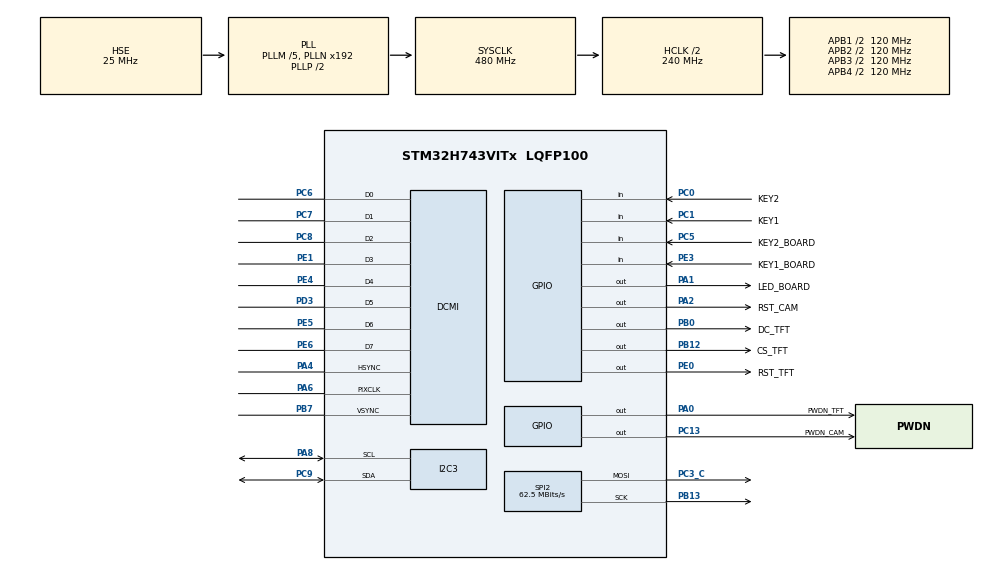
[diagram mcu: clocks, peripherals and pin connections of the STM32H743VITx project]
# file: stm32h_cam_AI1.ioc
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CORTEX_M7.CPU_DCache=Enabled
CORTEX_M7.CPU_ICache=Enabled
DCMI.JPEGMode=DCMI_JPEG_DISABLE
DCMI.PCKPolarity=DCMI_PCKPOLARITY_RISING
Dma.DCMI.1.Direction=DMA_PERIPH_TO_MEMORY
Dma.DCMI.1.EventEnable=DISABLE
Dma.DCMI.1.FIFOMode=DMA_FIFOMODE_ENABLE
Dma.DCMI.1.FIFOThreshold=DMA_FIFO_THRESHOLD_FULL
Dma.DCMI.1.Instance=DMA2_Stream1
Dma.DCMI.1.MemBurst=DMA_MBURST_SINGLE
Dma.DCMI.1.MemDataAlignment=DMA_MDATAALIGN_BYTE
Dma.DCMI.1.MemInc=DMA_MINC_ENABLE
Dma.DCMI.1.Mode=DMA_CIRCULAR
Dma.DCMI.1.PeriphBurst=DMA_PBURST_SINGLE
Dma.DCMI.1.PeriphDataAlignment=DMA_PDATAALIGN_WORD
Dma.DCMI.1.PeriphInc=DMA_PINC_DISABLE
Dma.DCMI.1.Polarity=HAL_DMAMUX_REQ_GEN_RISING
Dma.DCMI.1.Priority=DMA_PRIORITY_VERY_HIGH
Dma.DCMI.1.RequestNumber=1
Dma.DCMI.1.SignalID=NONE
Dma.DCMI.1.SyncEnable=DISABLE
Dma.DCMI.1.SyncPolarity=HAL_DMAMUX_SYNC_NO_EVENT
Dma.DCMI.1.SyncRequestNumber=1
Dma.DCMI.1.SyncSignalID=NONE
Dma.Request0=SPI2_TX
Dma.Request1=DCMI
Dma.SPI2_TX.0.Direction=DMA_MEMORY_TO_PERIPH
Dma.SPI2_TX.0.EventEnable=DISABLE
Dma.SPI2_TX.0.FIFOMode=DMA_FIFOMODE_DISABLE
Dma.SPI2_TX.0.Instance=DMA1_Stream7
Dma.SPI2_TX.0.MemDataAlignment=DMA_MDATAALIGN_BYTE
Dma.SPI2_TX.0.MemInc=DMA_MINC_ENABLE
Dma.SPI2_TX.0.Mode=DMA_NORMAL
Dma.SPI2_TX.0.PeriphDataAlignment=DMA_PDATAALIGN_BYTE
Dma.SPI2_TX.0.PeriphInc=DMA_PINC_DISABLE
Dma.SPI2_TX.0.Polarity=HAL_DMAMUX_REQ_GEN_RISING
Dma.SPI2_TX.0.Priority=DMA_PRIORITY_HIGH
Dma.SPI2_TX.0.RequestNumber=1
Dma.SPI2_TX.0.SignalID=NONE
Dma.SPI2_TX.0.SyncEnable=DISABLE
Dma.SPI2_TX.0.SyncPolarity=HAL_DMAMUX_SYNC_NO_EVENT
Dma.SPI2_TX.0.SyncRequestNumber=1
Dma.SPI2_TX.0.SyncSignalID=NONE
I2C3.Analog_Filter=I2C_ANALOGFILTER_ENABLE
I2C3.I2C_Coeff_DF=0
I2C3.I2C_Fall_Time=300
I2C3.I2C_Rise_Time=300
I2C3.Timing=0x70843A4F
Mcu.Family=STM32H7
Mcu.Name=STM32H743VITx
Mcu.Package=LQFP100
NVIC.DMA1_Stream7_IRQn=true\:0\:0\:false\:false\:true\:false\:true\:true
NVIC.DMA2_Stream1_IRQn=true\:0\:0\:false\:false\:true\:false\:true\:true
NVIC.PriorityGroup=NVIC_PRIORITYGROUP_4
NVIC.SPI2_IRQn=true\:0\:0\:false\:false\:true\:false\:true\:true
PA0.GPIO_Label=PWDN_TFT
PA0.GPIO_ModeDefaultOutputPP=GPIO_MODE_OUTPUT_OD
PA0.GPIO_PuPd=GPIO_PULLUP
PA0.PinState=GPIO_PIN_SET
PA0.Signal=GPIO_Output
PA1.GPIO_Label=LED_BOARD
PA1.Signal=GPIO_Output
PA13\ (JTMS/SWDIO).Mode=Serial_Wire
PA13\ (JTMS/SWDIO).Signal=DEBUG_JTMS-SWDIO
PA14\ (JTCK/SWCLK).Mode=Serial_Wire
PA14\ (JTCK/SWCLK).Signal=DEBUG_JTCK-SWCLK
PA2.GPIO_Label=RST_CAM
PA2.Signal=GPIO_Output
PA4.Mode=Slave_8_bits_External_Synchro
PA4.Signal=DCMI_HSYNC
PA6.Mode=Slave_8_bits_External_Synchro
PA6.Signal=DCMI_PIXCLK
PA8.Mode=I2C
PA8.Signal=I2C3_SCL
PB0.GPIO_Label=DC_TFT
PB0.GPIO_PuPd=GPIO_PULLUP
PB0.PinState=GPIO_PIN_SET
PB0.Signal=GPIO_Output
PB12.GPIO_Label=CS_TFT
PB12.GPIO_PuPd=GPIO_PULLUP
PB12.PinState=GPIO_PIN_SET
PB12.Signal=GPIO_Output
PB13.GPIO_Speed=GPIO_SPEED_FREQ_VERY_HIGH
PB13.Mode=TX_Only_Simplex_Unidirect_Master
PB13.Signal=SPI2_SCK
PB6.Signal=QUADSPI_BK1_NCS
PB7.Mode=Slave_8_bits_External_Synchro
PB7.Signal=DCMI_VSYNC
PC0.GPIO_Label=KEY2
PC0.Signal=GPIO_Input
PC1.GPIO_Label=KEY1
PC1.Signal=GPIO_Input
PC13.GPIO_Label=PWDN_CAM
PC13.PinState=GPIO_PIN_SET
PC13.Signal=GPIO_Output
PC14-OSC32_IN\ (OSC32_IN).Mode=LSE-External-Oscillator
PC14-OSC32_IN\ (OSC32_IN).Signal=RCC_OSC32_IN
PC15-OSC32_OUT\ (OSC32_OUT).Mode=LSE-External-Oscillator
PC15-OSC32_OUT\ (OSC32_OUT).Signal=RCC_OSC32_OUT
PC3_C.GPIO_Speed=GPIO_SPEED_FREQ_VERY_HIGH
PC3_C.Mode=TX_Only_Simplex_Unidirect_Master
PC3_C.Signal=SPI2_MOSI
PC5.GPIO_Label=KEY2_BOARD
PC5.Signal=GPIO_Input
PC6.Mode=Slave_8_bits_External_Synchro
PC6.Signal=DCMI_D0
PC7.Mode=Slave_8_bits_External_Synchro
PC7.Signal=DCMI_D1
PC8.Mode=Slave_8_bits_External_Synchro
PC8.Signal=DCMI_D2
PC9.Mode=I2C
PC9.Signal=I2C3_SDA
PD13.Signal=QUADSPI_BK1_IO3
PD3.Mode=Slave_8_bits_External_Synchro
PD3.Signal=DCMI_D5
PE0.GPIO_Label=RST_TFT
PE0.GPIO_PuPd=GPIO_PULLUP
PE0.PinState=GPIO_PIN_SET
PE0.Signal=GPIO_Output
PE1.Mode=Slave_8_bits_External_Synchro
PE1.Signal=DCMI_D3
PE3.GPIO_Label=KEY1_BOARD
PE3.Signal=GPIO_Input
PE4.Mode=Slave_8_bits_External_Synchro
PE4.Signal=DCMI_D4
PE5.Mode=Slave_8_bits_External_Synchro
PE5.Signal=DCMI_D6
PE6.Mode=Slave_8_bits_External_Synchro
PE6.Signal=DCMI_D7
PH0-OSC_IN\ (PH0).Mode=HSE-External-Oscillator
PH0-OSC_IN\ (PH0).Signal=RCC_OSC_IN
PH1-OSC_OUT\ (PH1).Mode=HSE-External-Oscillator
PH1-OSC_OUT\ (PH1).Signal=RCC_OSC_OUT
ProjectManager.HeapSize=0x800
ProjectManager.StackSize=0x1000
ProjectManager.TargetToolchain=STM32CubeIDE
RCC.ADCFreq_Value=125000000
RCC.APB1CLKDivider=RCC_HCLK_DIV4
RCC.APB1Freq_Value=120000000
RCC.APB2CLKDivider=RCC_HCLK_DIV2
RCC.APB2Freq_Value=120000000
RCC.APB3Freq_Value=120000000
RCC.APB4Freq_Value=120000000
RCC.CortexFreq_Value=480000000
RCC.D1PPRE=RCC_APB3_DIV2
RCC.D2PPRE1=RCC_APB1_DIV2
RCC.D2PPRE2=RCC_APB2_DIV2
RCC.D3PPRE=RCC_APB4_DIV2
RCC.DIVM1=5
RCC.DIVM2=4
RCC.DIVN1=192
RCC.DIVN2=100
RCC.DIVN3=480
RCC.DIVP2=5
RCC.DIVQ1=20
RCC.DIVQ3=8
RCC.FLatency=FLASH_LATENCY_4
RCC.HCLKFreq_Value=240000000
RCC.HPRE=RCC_HCLK_DIV2
RCC.HSE_VALUE=25000000
RCC.PLLFRACN=0
RCC.PLLM=25
RCC.PLLMUL=RCC_PLL_MUL9
RCC.PLLN=432
RCC.PLLQ=9
RCC.PLLSourceVirtual=RCC_PLLSOURCE_HSE
RCC.PRESCALERUSB=RCC_USBCLKSOURCE_PLL_DIV1_5
RCC.PWR_Regulator_Voltage_Scale=PWR_REGULATOR_VOLTAGE_SCALE0
RCC.ProductRev=revV
RCC.RTCClockSelection=RCC_RTCCLKSOURCE_LSE
RCC.SPI123CLockSelection=RCC_SPI123CLKSOURCE_PLL2
RCC.SYSCLKFreq_VALUE=480000000
RCC.SYSCLKSource=RCC_SYSCLKSOURCE_PLLCLK
RCC.SYSCLKSourceVirtual=RCC_SYSCLKSOURCE_PLLCLK
RCC.USBFreq_Value=48000000
SPI2.BaudRatePrescaler=SPI_BAUDRATEPRESCALER_2
SPI2.CalculateBaudRate=62.5 MBits/s
SPI2.DataSize=SPI_DATASIZE_8BIT
SPI2.Direction=SPI_DIRECTION_2LINES_TXONLY
SPI2.Mode=SPI_MODE_MASTER
SPI2.NSSPMode=SPI_NSS_PULSE_ENABLE
SPI2.VirtualType=VM_MASTER
STMicroelectronics.X-CUBE-AI.8.0.0.ActivationBufferSizeList=165128
STMicroelectronics.X-CUBE-AI.8.0.0.ActivationBuffers=pool0
STMicroelectronics.X-CUBE-AI.8.0.0.ActivationNames=pool0
STMicroelectronics.X-CUBE-AI.8.0.0.ActivationSizes=AI_NETWORK_DATA_ACTIVATION_1_SIZE
STMicroelectronics.X-CUBE-AI.8.0.0.ApplicationCcDeviceJjApplication=ApplicationTemplate
STMicroelectronics.X-CUBE-AI.8.0.0.HeapSize=0x800
STMicroelectronics.X-CUBE-AI.8.0.0.InternalRamActivationBufferMaxSize=AI_NETWORK_DATA_ACTIVATIONS_SIZE
STMicroelectronics.X-CUBE-AI.8.0.0.LatestDirectoryUsed-9e746e8aa5f1842845a0ca2c0252ea6c1ed22911906135166e2635fc61705ba6=/home/pavel/STM32CubeIDE/workspace_1.3.0/stm32h_cam_AI1/model
STMicroelectronics.X-CUBE-AI.8.0.0.MaximumNumberOfInputLayer=1
STMicroelectronics.X-CUBE-AI.8.0.0.MaximumNumberOfOutputLayer=1
STMicroelectronics.X-CUBE-AI.8.0.0.MaximumSizeOfInputLayer=1
STMicroelectronics.X-CUBE-AI.8.0.0.MaximumSizeOfOutputLayer=1
STMicroelectronics.X-CUBE-AI.8.0.0.ModelActualCompression-9e746e8aa5f1842845a0ca2c0252ea6c1ed22911906135166e2635fc61705ba6=0.0
STMicroelectronics.X-CUBE-AI.8.0.0.ModelCompression-9e746e8aa5f1842845a0ca2c0252ea6c1ed22911906135166e2635fc61705ba6=None
STMicroelectronics.X-CUBE-AI.8.0.0.ModelFlashOccupation-9e746e8aa5f1842845a0ca2c0252ea6c1ed22911906135166e2635fc61705ba6=872528
STMicroelectronics.X-CUBE-AI.8.0.0.ModelHashList=9e746e8aa5f1842845a0ca2c0252ea6c1ed22911906135166e2635fc61705ba6
STMicroelectronics.X-CUBE-AI.8.0.0.ModelKind-9e746e8aa5f1842845a0ca2c0252ea6c1ed22911906135166e2635fc61705ba6=KERAS
STMicroelectronics.X-CUBE-AI.8.0.0.ModelMacc-9e746e8aa5f1842845a0ca2c0252ea6c1ed22911906135166e2635fc61705ba6=7957840
STMicroelectronics.X-CUBE-AI.8.0.0.ModelName-9e746e8aa5f1842845a0ca2c0252ea6c1ed22911906135166e2635fc61705ba6=network
STMicroelectronics.X-CUBE-AI.8.0.0.ModelNameList=network
STMicroelectronics.X-CUBE-AI.8.0.0.ModelRamOccupation-9e746e8aa5f1842845a0ca2c0252ea6c1ed22911906135166e2635fc61705ba6=165128
STMicroelectronics.X-CUBE-AI.8.0.0.ModelStructureFile-9e746e8aa5f1842845a0ca2c0252ea6c1ed22911906135166e2635fc61705ba6=model/model96x96.h5
STMicroelectronics.X-CUBE-AI.8.0.0.ModelType-9e746e8aa5f1842845a0ca2c0252ea6c1ed22911906135166e2635fc61705ba6=Saved model
STMicroelectronics.X-CUBE-AI.8.0.0.ReadyForCodeGeneration=true
STMicroelectronics.X-CUBE-AI.8.0.0.StackSize=0x1000
STMicroelectronics.X-CUBE-AI.8.0.0.WorkingBufferStartAddrList=0xFFFFFFFF
STMicroelectronics.X-CUBE-AI.8.0.0.XAaCUBEAaAICcArtificialOoIntelligenceJjCore=true
STMicroelectronics.X-CUBE-AI.8.0.0.copyWeightToRam=false
STMicroelectronics.X-CUBE-AI.8.0.0.copyWeightToRam-9e746e8aa5f1842845a0ca2c0252ea6c1ed22911906135166e2635fc61705ba6=false
STMicroelectronics.X-CUBE-AI.8.0.0.customLayerConfigEnabled=false
STMicroelectronics.X-CUBE-AI.8.0.0.customLayerConfigEnabled-9e746e8aa5f1842845a0ca2c0252ea6c1ed22911906135166e2635fc61705ba6=false
STMicroelectronics.X-CUBE-AI.8.0.0.useInputAllocation=true
STMicroelectronics.X-CUBE-AI.8.0.0.useInputAllocation-9e746e8aa5f1842845a0ca2c0252ea6c1ed22911906135166e2635fc61705ba6=true
STMicroelectronics.X-CUBE-AI.8.0.0.useOutputAllocation=true
STMicroelectronics.X-CUBE-AI.8.0.0.useOutputAllocation-9e746e8aa5f1842845a0ca2c0252ea6c1ed22911906135166e2635fc61705ba6=true
VP_CRC_VS_CRC.Mode=CRC_Activate
VP_RTC_VS_RTC_Activate.Mode=RTC_Enabled
VP_STMicroelectronics.X-CUBE-AI_VS_ArtificialOoIntelligenceJjXAaCUBEAaAI_8.0.0.Mode=ArtificialOoIntelligenceJjXAaCUBEAaAI
VP_STMicroelectronics.X-CUBE-AI_VS_DeviceJjApplication_8.0.0.Mode=DeviceJjApplication
board=custom

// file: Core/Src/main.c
/* USER CODE BEGIN Header */
/**
  ******************************************************************************
  * @file           : main.c
  * @brief          : Main program body
  ******************************************************************************
  * @attention
  *
  * Copyright (c) 2022 STMicroelectronics.
  * All rights reserved.
  *
  * This software is licensed under terms that can be found in the LICENSE file
  * in the root directory of this software component.
  * If no LICENSE file comes with this software, it is provided AS-IS.
  *
  ******************************************************************************
  */
/* USER CODE END Header */
#include "main.h"
#include "app_x-cube-ai.h"

/* USER CODE BEGIN Includes */
#include "stdio.h"
#include "network.h"
#include "network_data.h"
#include "../Src/OV2640/ov2640.h"
#include "../Src/OV2640/ov2640_regs.h"
/* USER CODE END Includes */

CRC_HandleTypeDef hcrc;

DCMI_HandleTypeDef hdcmi;
DMA_HandleTypeDef hdma_dcmi;

I2C_HandleTypeDef hi2c3;

RTC_HandleTypeDef hrtc;

SPI_HandleTypeDef hspi2;
DMA_HandleTypeDef hdma_spi2_tx;

/* USER CODE BEGIN PV */
sensor_t sensor = {0}; // Структура камеры
// Определение фрейм буфера для камеры
// Организация буфера внутри дисплея. От верхнего левого угла по длинной стороне (т.е сначала запоняется верхняя длинная сторона)
#if defined RGB565_128X128
__attribute__((section(".frame_buffer")))int8_t imag[RGB565_128X128_BUF_SIZE] = {0};
#elif defined RGB565_160X160
__attribute__((section(".frame_buffer")))int8_t imag[RGB565_160X160_BUF_SIZE] = {0};
#elif defined RGB565_QVGA
__attribute__((section(".frame_buffer")))int8_t imag[RGB565_QVGA_BUF_SIZE] = {0};
#elif defined RGB565_VGA
__attribute__((section(".frame_buffer")))int8_t imag[RGB565_VGA_BUF_SIZE] = {0};
#endif

/* USER CODE END PV */

void SystemClock_Config(void);
static void MX_GPIO_Init(void);
static void MX_DCMI_Init(void);
static void MX_DMA_Init(void);
static void MX_SPI2_Init(void);
static void MX_I2C3_Init(void);
static void MX_RTC_Init(void);
static void MX_CRC_Init(void);
/* USER CODE BEGIN PFP */
static void sensor_setting(I2C_HandleTypeDef *camera_i2c);
/* USER CODE END PFP */

/* USER CODE BEGIN 0 */
static void init_AI(void);
static uint8_t run_AI(uint16_t *frameBuffer);
static float input[96][96][3];
static float output[2];
static const char lable[2][11] = {"CAT",
								  "DOG"};
// Инициализация нейросети
/* Global handle to reference the instantiated C-model */
static ai_handle network = AI_HANDLE_NULL;

/* Global c-array to handle the activations buffer */
AI_ALIGNED(32)
static ai_u8 activations[AI_NETWORK_DATA_ACTIVATIONS_SIZE];
/* Array of pointer to manage the model's input/output tensors */
static ai_buffer *ai_input;
static ai_buffer *ai_output;

void init_AI()
{
	  ai_error err;
	  char buf[200];
	  /* Create a local array with the addresses of the activations buffers */
	  const ai_handle act_addr[] = { activations };
	  /* Create an instance of the model */
	  err = ai_network_create_and_init(&network, act_addr, NULL);
	  if (err.type != AI_ERROR_NONE) {
	  // manage the error
		sprintf(buf,"Err create:%d",(int)err.code);
		ILI9341_DrawText(buf, FONT2, 162,2, BLACK, WHITE);
		} else ILI9341_DrawText("Create OK", FONT2, 165,2, BLACK, WHITE);

	  /* Reteive pointers to the model's input/output tensors */
	   ai_input = ai_network_inputs_get(network, NULL);
	   ai_output = ai_network_outputs_get(network, NULL);

}

static uint8_t run_AI(uint16_t *frameBuffer)
{
	char buf[200];
// Подготовка данных для нейросети из изображения полученного от камеры.
// В буфере лежит картинка 128(строки) на 128 (столбцы) по 2 байта на точку ПО СТРОЧНО!
// Нейросеть всасывает картинку 96х95 (верхний левый угол)
	for(int i = 0; i < 96; i ++)  // Строки
	{
		for(int j = 0; j < 96; j ++) // Столбцы
		{
			uint16_t RGB_sample = frameBuffer[(i*128)+j];
			//uint16_t RGB_sample = frameBuffer[40*2+40*2*(i*2*2)+(j*2*2)];
			float B = (float)(RGB_sample & 0x1f) / 32.0;
			float G = (float)((RGB_sample >> 6) & 0x1f) / 32.0;
			float R = (float)(RGB_sample >> 11) / 32.0;
			input[i][j][0] = (R - 0.1307) / 0.3081;
			input[i][j][1] = (G - 0.1307) / 0.3081;
			input[i][j][2] = (B - 0.1307) / 0.3081;
		}
	}

	ai_error err;
	ai_i32 batch;

	  /* Update IO handlers with the data payload */
	  ai_input[0].data = AI_HANDLE_PTR(input);
	  ai_output[0].data = AI_HANDLE_PTR(output);

	  SCB_EnableDCache();
	  batch = ai_network_run(network, &ai_input[0], &ai_output[0]);
      SCB_DisableDCache();
	  if (batch != 1) {
	    err = ai_network_get_error(network);
	    sprintf(buf,"Err type:0x%x code:0x%x",(int)err.type,(int)err.code);
	   	ILI9341_DrawText(buf, FONT2, 50,226, BLACK, WHITE);
	    } else ILI9341_DrawText("Run OK", FONT2, 50,226, BLACK, WHITE);
	if (output[0]>output[1]) return 0; else return 1;

}

/* USER CODE END 0 */

int main(void)
{

  /* Enable I-Cache---------------------------------------------------------*/
  SCB_EnableICache();

  /* Enable D-Cache---------------------------------------------------------*/
  SCB_EnableDCache();

  /* MCU Configuration--------------------------------------------------------*/

  /* Reset of all peripherals, Initializes the Flash interface and the Systick. */
  HAL_Init();

  /* USER CODE BEGIN Init */
 // mySystemClock_Config();
  MX_GPIO_Init();
  MX_DMA_Init();
  MX_DCMI_Init();
  /* USER CODE END Init */

  /* Configure the system clock */
  SystemClock_Config();

  /* USER CODE BEGIN SysInit */
// Не правильно сначала должно быть инициализация MX_DMA_Init(); потом   MX_DCMI_Init();
  /* USER CODE END SysInit */

  /* Initialize all configured peripherals */
  MX_GPIO_Init();
  MX_DCMI_Init();
  MX_DMA_Init();
  MX_SPI2_Init();
  MX_I2C3_Init();
  MX_RTC_Init();
  MX_CRC_Init();
  MX_X_CUBE_AI_Init();
  /* USER CODE BEGIN 2 */

   HAL_GPIO_WritePin(RST_CAM_GPIO_Port, RST_CAM_Pin, GPIO_PIN_SET);
   HAL_GPIO_WritePin(PWDN_CAM_GPIO_Port, PWDN_CAM_Pin, GPIO_PIN_RESET);
   sensor_setting(&hi2c3);

  ILI9341_Init();
//  HAL_GPIO_WritePin(LED_BOARD_GPIO_Port, LED_BOARD_Pin, GPIO_PIN_RESET); // Установить светодиод  1
  HAL_GPIO_WritePin(PWDN_TFT_GPIO_Port, PWDN_TFT_Pin, GPIO_PIN_RESET);     // Включить подсветку дисплея
  ILI9341_FillScreen(WHITE);
  ILI9341_SetRotation(SCREEN_HORIZONTAL_1);
  ILI9341_DrawHLine(0, 225, 320, RED);
  ILI9341_DrawText("Start", FONT2, 2, 226, BLACK, WHITE);

  uint32_t old_time, fps;
  char buf[64];
  init_AI();
  bool pause=false;     // есть ли пауза
  bool key2WasUp=true;  // была ли кнопка отпущена?
  bool key2IsUp;        // текущее состояние кнопки
  bool frame=false;     // есть ли рамка
  bool key1WasUp=true;  // была ли кнопка отпущена?
  bool key1IsUp;        // текущее состояние кнопки

  /* USER CODE END 2 */

  /* Infinite loop */
  /* USER CODE BEGIN WHILE */
  while (1)
  {
	  // Кнопка Select ставит процесс на паузу (тригерная кнопка)
	  key2IsUp=HAL_GPIO_ReadPin(KEY2_GPIO_Port, KEY2_Pin);
	  if (key2WasUp && !key2IsUp) {
		  key2IsUp=HAL_GPIO_ReadPin(KEY2_GPIO_Port, KEY2_Pin);
	      if (!key2IsUp) { pause=!pause; }
	  }
	  key2WasUp=key2IsUp;

	  // Кнопка Enter вывод рамки где работает нейросеть (тригерная кнопка)
	  key1IsUp=HAL_GPIO_ReadPin(KEY1_GPIO_Port, KEY1_Pin);
	  if (key1WasUp && !key1IsUp) {
		  key1IsUp=HAL_GPIO_ReadPin(KEY1_GPIO_Port, KEY1_Pin);
	      if (!key1IsUp) { frame=!frame; }
	  }
	  key1WasUp=key1IsUp;

      if (!pause){ // если нет паузы
	         old_time=HAL_GetTick();
		     sensor.snapshot(hdcmi, (int32_t *)imag);
		     ILI9341_render128x128((uint16_t *)imag,0,0,128,128,frame);
		     uint8_t number = run_AI((uint16_t*)imag); // Запуск нейросети
		     fps=HAL_GetTick()-old_time;
		     sprintf(buf,"FPS=%d ",(int)(1000/fps));
		     ILI9341_DrawText(buf, FONT2, 2, 226, BLACK, WHITE);
		     sprintf(buf,"Detect AI: %s (%.2f/%.2f)",lable[number],output[0],output[1]);
		     ILI9341_DrawText(buf, FONT2, 140, 226, BLACK, WHITE);
      }
    /* USER CODE END WHILE */

 // MX_X_CUBE_AI_Process();
  }
}

void SystemClock_Config(void)
{
  RCC_OscInitTypeDef RCC_OscInitStruct = {0};
  RCC_ClkInitTypeDef RCC_ClkInitStruct = {0};

  /** Supply configuration update enable
  */
  HAL_PWREx_ConfigSupply(PWR_LDO_SUPPLY);
  /** Configure the main internal regulator output voltage
  */
  __HAL_PWR_VOLTAGESCALING_CONFIG(PWR_REGULATOR_VOLTAGE_SCALE0);

  while(!__HAL_PWR_GET_FLAG(PWR_FLAG_VOSRDY)) {}
  /** Configure LSE Drive Capability
  */
  HAL_PWR_EnableBkUpAccess();
  __HAL_RCC_LSEDRIVE_CONFIG(RCC_LSEDRIVE_LOW);
  /** Macro to configure the PLL clock source
  */
  __HAL_RCC_PLL_PLLSOURCE_CONFIG(RCC_PLLSOURCE_HSE);
  /** Initializes the RCC Oscillators according to the specified parameters
  * in the RCC_OscInitTypeDef structure.
  */
  RCC_OscInitStruct.OscillatorType = RCC_OSCILLATORTYPE_HSE|RCC_OSCILLATORTYPE_LSE;
  RCC_OscInitStruct.HSEState = RCC_HSE_ON;
  RCC_OscInitStruct.LSEState = RCC_LSE_ON;
  RCC_OscInitStruct.PLL.PLLState = RCC_PLL_ON;
  RCC_OscInitStruct.PLL.PLLSource = RCC_PLLSOURCE_HSE;
  RCC_OscInitStruct.PLL.PLLM = 5;
  RCC_OscInitStruct.PLL.PLLN = 192;
  RCC_OscInitStruct.PLL.PLLP = 2;
  RCC_OscInitStruct.PLL.PLLQ = 20;
  RCC_OscInitStruct.PLL.PLLR = 2;
  RCC_OscInitStruct.PLL.PLLRGE = RCC_PLL1VCIRANGE_2;
  RCC_OscInitStruct.PLL.PLLVCOSEL = RCC_PLL1VCOWIDE;
  RCC_OscInitStruct.PLL.PLLFRACN = 0;
  if (HAL_RCC_OscConfig(&RCC_OscInitStruct) != HAL_OK)
  {
    Error_Handler();
  }
  /** Initializes the CPU, AHB and APB buses clocks
  */
  RCC_ClkInitStruct.ClockType = RCC_CLOCKTYPE_HCLK|RCC_CLOCKTYPE_SYSCLK
                              |RCC_CLOCKTYPE_PCLK1|RCC_CLOCKTYPE_PCLK2
                              |RCC_CLOCKTYPE_D3PCLK1|RCC_CLOCKTYPE_D1PCLK1;
  RCC_ClkInitStruct.SYSCLKSource = RCC_SYSCLKSOURCE_PLLCLK;
  RCC_ClkInitStruct.SYSCLKDivider = RCC_SYSCLK_DIV1;
  RCC_ClkInitStruct.AHBCLKDivider = RCC_HCLK_DIV2;
  RCC_ClkInitStruct.APB3CLKDivider = RCC_APB3_DIV2;
  RCC_ClkInitStruct.APB1CLKDivider = RCC_APB1_DIV2;
  RCC_ClkInitStruct.APB2CLKDivider = RCC_APB2_DIV2;
  RCC_ClkInitStruct.APB4CLKDivider = RCC_APB4_DIV2;

  if (HAL_RCC_ClockConfig(&RCC_ClkInitStruct, FLASH_LATENCY_4) != HAL_OK)
  {
    Error_Handler();
  }
}

static void MX_CRC_Init(void)
{

  hcrc.Instance = CRC;
  hcrc.Init.DefaultPolynomialUse = DEFAULT_POLYNOMIAL_ENABLE;
  hcrc.Init.DefaultInitValueUse = DEFAULT_INIT_VALUE_ENABLE;
  hcrc.Init.InputDataInversionMode = CRC_INPUTDATA_INVERSION_NONE;
  hcrc.Init.OutputDataInversionMode = CRC_OUTPUTDATA_INVERSION_DISABLE;
  hcrc.InputDataFormat = CRC_INPUTDATA_FORMAT_BYTES;
  if (HAL_CRC_Init(&hcrc) != HAL_OK)
  {
    Error_Handler();
  }

}

static void MX_DCMI_Init(void)
{

  hdcmi.Instance = DCMI;
  hdcmi.Init.SynchroMode = DCMI_SYNCHRO_HARDWARE;
  hdcmi.Init.PCKPolarity = DCMI_PCKPOLARITY_RISING;
  hdcmi.Init.VSPolarity = DCMI_VSPOLARITY_LOW;
  hdcmi.Init.HSPolarity = DCMI_HSPOLARITY_LOW;
  hdcmi.Init.CaptureRate = DCMI_CR_ALL_FRAME;
  hdcmi.Init.ExtendedDataMode = DCMI_EXTEND_DATA_8B;
  hdcmi.Init.JPEGMode = DCMI_JPEG_DISABLE;
  hdcmi.Init.ByteSelectMode = DCMI_BSM_ALL;
  hdcmi.Init.ByteSelectStart = DCMI_OEBS_ODD;
  hdcmi.Init.LineSelectMode = DCMI_LSM_ALL;
  hdcmi.Init.LineSelectStart = DCMI_OELS_ODD;
  if (HAL_DCMI_Init(&hdcmi) != HAL_OK)
  {
    Error_Handler();
  }

}

static void MX_I2C3_Init(void)
{

  hi2c3.Instance = I2C3;
  hi2c3.Init.Timing = 0x70843A4F;
  hi2c3.Init.OwnAddress1 = 0;
  hi2c3.Init.AddressingMode = I2C_ADDRESSINGMODE_7BIT;
  hi2c3.Init.DualAddressMode = I2C_DUALADDRESS_DISABLE;
  hi2c3.Init.OwnAddress2 = 0;
  hi2c3.Init.OwnAddress2Masks = I2C_OA2_NOMASK;
  hi2c3.Init.GeneralCallMode = I2C_GENERALCALL_DISABLE;
  hi2c3.Init.NoStretchMode = I2C_NOSTRETCH_DISABLE;
  if (HAL_I2C_Init(&hi2c3) != HAL_OK)
  {
    Error_Handler();
  }
  /** Configure Analogue filter
  */
  if (HAL_I2CEx_ConfigAnalogFilter(&hi2c3, I2C_ANALOGFILTER_ENABLE) != HAL_OK)
  {
    Error_Handler();
  }
  /** Configure Digital filter
  */
  if (HAL_I2CEx_ConfigDigitalFilter(&hi2c3, 0) != HAL_OK)
  {
    Error_Handler();
  }

}

static void MX_RTC_Init(void)
{

  /** Initialize RTC Only
  */
  hrtc.Instance = RTC;
  hrtc.Init.HourFormat = RTC_HOURFORMAT_24;
  hrtc.Init.AsynchPrediv = 127;
  hrtc.Init.SynchPrediv = 255;
  hrtc.Init.OutPut = RTC_OUTPUT_DISABLE;
  hrtc.Init.OutPutPolarity = RTC_OUTPUT_POLARITY_HIGH;
  hrtc.Init.OutPutType = RTC_OUTPUT_TYPE_OPENDRAIN;
  hrtc.Init.OutPutRemap = RTC_OUTPUT_REMAP_NONE;
  if (HAL_RTC_Init(&hrtc) != HAL_OK)
  {
    Error_Handler();
  }

}

static void MX_SPI2_Init(void)
{

  /* SPI2 parameter configuration*/
  hspi2.Instance = SPI2;
  hspi2.Init.Mode = SPI_MODE_MASTER;
  hspi2.Init.Direction = SPI_DIRECTION_2LINES_TXONLY;
  hspi2.Init.DataSize = SPI_DATASIZE_8BIT;
  hspi2.Init.CLKPolarity = SPI_POLARITY_LOW;
  hspi2.Init.CLKPhase = SPI_PHASE_1EDGE;
  hspi2.Init.NSS = SPI_NSS_SOFT;
  hspi2.Init.BaudRatePrescaler = SPI_BAUDRATEPRESCALER_2;
  hspi2.Init.FirstBit = SPI_FIRSTBIT_MSB;
  hspi2.Init.TIMode = SPI_TIMODE_DISABLE;
  hspi2.Init.CRCCalculation = SPI_CRCCALCULATION_DISABLE;
  hspi2.Init.CRCPolynomial = 0x0;
  hspi2.Init.NSSPMode = SPI_NSS_PULSE_ENABLE;
  hspi2.Init.NSSPolarity = SPI_NSS_POLARITY_LOW;
  hspi2.Init.FifoThreshold = SPI_FIFO_THRESHOLD_01DATA;
  hspi2.Init.TxCRCInitializationPattern = SPI_CRC_INITIALIZATION_ALL_ZERO_PATTERN;
  hspi2.Init.RxCRCInitializationPattern = SPI_CRC_INITIALIZATION_ALL_ZERO_PATTERN;
  hspi2.Init.MasterSSIdleness = SPI_MASTER_SS_IDLENESS_00CYCLE;
  hspi2.Init.MasterInterDataIdleness = SPI_MASTER_INTERDATA_IDLENESS_00CYCLE;
  hspi2.Init.MasterReceiverAutoSusp = SPI_MASTER_RX_AUTOSUSP_DISABLE;
  hspi2.Init.MasterKeepIOState = SPI_MASTER_KEEP_IO_STATE_DISABLE;
  hspi2.Init.IOSwap = SPI_IO_SWAP_DISABLE;
  if (HAL_SPI_Init(&hspi2) != HAL_OK)
  {
    Error_Handler();
  }

}

static void MX_DMA_Init(void)
{

  /* DMA controller clock enable */
  __HAL_RCC_DMA1_CLK_ENABLE();
  __HAL_RCC_DMA2_CLK_ENABLE();

  /* DMA interrupt init */
  /* DMA1_Stream7_IRQn interrupt configuration */
  HAL_NVIC_SetPriority(DMA1_Stream7_IRQn, 0, 0);
  HAL_NVIC_EnableIRQ(DMA1_Stream7_IRQn);
  /* DMA2_Stream1_IRQn interrupt configuration */
  HAL_NVIC_SetPriority(DMA2_Stream1_IRQn, 0, 0);
  HAL_NVIC_EnableIRQ(DMA2_Stream1_IRQn);

}

static void MX_GPIO_Init(void)
{
  GPIO_InitTypeDef GPIO_InitStruct = {0};

  /* GPIO Ports Clock Enable */
  __HAL_RCC_GPIOE_CLK_ENABLE();
  __HAL_RCC_GPIOC_CLK_ENABLE();
  __HAL_RCC_GPIOH_CLK_ENABLE();
  __HAL_RCC_GPIOA_CLK_ENABLE();
  __HAL_RCC_GPIOB_CLK_ENABLE();
  __HAL_RCC_GPIOD_CLK_ENABLE();

  /*Configure GPIO pin Output Level */
  HAL_GPIO_WritePin(PWDN_CAM_GPIO_Port, PWDN_CAM_Pin, GPIO_PIN_SET);

  /*Configure GPIO pin Output Level */
  HAL_GPIO_WritePin(PWDN_TFT_GPIO_Port, PWDN_TFT_Pin, GPIO_PIN_SET);

  /*Configure GPIO pin Output Level */
  HAL_GPIO_WritePin(GPIOA, LED_BOARD_Pin|RST_CAM_Pin, GPIO_PIN_RESET);

  /*Configure GPIO pin Output Level */
  HAL_GPIO_WritePin(GPIOB, DC_TFT_Pin|CS_TFT_Pin, GPIO_PIN_SET);

  /*Configure GPIO pin Output Level */
  HAL_GPIO_WritePin(RST_TFT_GPIO_Port, RST_TFT_Pin, GPIO_PIN_SET);

  /*Configure GPIO pin : KEY1_BOARD_Pin */
  GPIO_InitStruct.Pin = KEY1_BOARD_Pin;
  GPIO_InitStruct.Mode = GPIO_MODE_INPUT;
  GPIO_InitStruct.Pull = GPIO_NOPULL;
  HAL_GPIO_Init(KEY1_BOARD_GPIO_Port, &GPIO_InitStruct);

  /*Configure GPIO pin : PWDN_CAM_Pin */
  GPIO_InitStruct.Pin = PWDN_CAM_Pin;
  GPIO_InitStruct.Mode = GPIO_MODE_OUTPUT_PP;
  GPIO_InitStruct.Pull = GPIO_NOPULL;
  GPIO_InitStruct.Speed = GPIO_SPEED_FREQ_LOW;
  HAL_GPIO_Init(PWDN_CAM_GPIO_Port, &GPIO_InitStruct);

  /*Configure GPIO pins : KEY2_Pin KEY1_Pin KEY2_BOARD_Pin */
  GPIO_InitStruct.Pin = KEY2_Pin|KEY1_Pin|KEY2_BOARD_Pin;
  GPIO_InitStruct.Mode = GPIO_MODE_INPUT;
  GPIO_InitStruct.Pull = GPIO_NOPULL;
  HAL_GPIO_Init(GPIOC, &GPIO_InitStruct);

  /*Configure GPIO pin : PWDN_TFT_Pin */
  GPIO_InitStruct.Pin = PWDN_TFT_Pin;
  GPIO_InitStruct.Mode = GPIO_MODE_OUTPUT_OD;
  GPIO_InitStruct.Pull = GPIO_PULLUP;
  GPIO_InitStruct.Speed = GPIO_SPEED_FREQ_LOW;
  HAL_GPIO_Init(PWDN_TFT_GPIO_Port, &GPIO_InitStruct);

  /*Configure GPIO pins : LED_BOARD_Pin RST_CAM_Pin */
  GPIO_InitStruct.Pin = LED_BOARD_Pin|RST_CAM_Pin;
  GPIO_InitStruct.Mode = GPIO_MODE_OUTPUT_PP;
  GPIO_InitStruct.Pull = GPIO_NOPULL;
  GPIO_InitStruct.Speed = GPIO_SPEED_FREQ_LOW;
  HAL_GPIO_Init(GPIOA, &GPIO_InitStruct);

  /*Configure GPIO pins : DC_TFT_Pin CS_TFT_Pin */
  GPIO_InitStruct.Pin = DC_TFT_Pin|CS_TFT_Pin;
  GPIO_InitStruct.Mode = GPIO_MODE_OUTPUT_PP;
  GPIO_InitStruct.Pull = GPIO_PULLUP;
  GPIO_InitStruct.Speed = GPIO_SPEED_FREQ_LOW;
  HAL_GPIO_Init(GPIOB, &GPIO_InitStruct);

  /*Configure GPIO pin : PD13 */
  GPIO_InitStruct.Pin = GPIO_PIN_13;
  GPIO_InitStruct.Mode = GPIO_MODE_AF_PP;
  GPIO_InitStruct.Pull = GPIO_NOPULL;
  GPIO_InitStruct.Speed = GPIO_SPEED_FREQ_LOW;
  GPIO_InitStruct.Alternate = GPIO_AF9_QUADSPI;
  HAL_GPIO_Init(GPIOD, &GPIO_InitStruct);

  /*Configure GPIO pin : PB6 */
  GPIO_InitStruct.Pin = GPIO_PIN_6;
  GPIO_InitStruct.Mode = GPIO_MODE_AF_PP;
  GPIO_InitStruct.Pull = GPIO_NOPULL;
  GPIO_InitStruct.Speed = GPIO_SPEED_FREQ_LOW;
  GPIO_InitStruct.Alternate = GPIO_AF10_QUADSPI;
  HAL_GPIO_Init(GPIOB, &GPIO_InitStruct);

  /*Configure GPIO pin : RST_TFT_Pin */
  GPIO_InitStruct.Pin = RST_TFT_Pin;
  GPIO_InitStruct.Mode = GPIO_MODE_OUTPUT_PP;
  GPIO_InitStruct.Pull = GPIO_PULLUP;
  GPIO_InitStruct.Speed = GPIO_SPEED_FREQ_LOW;
  HAL_GPIO_Init(RST_TFT_GPIO_Port, &GPIO_InitStruct);

}

/* USER CODE BEGIN 4 */
static void sensor_setting(I2C_HandleTypeDef *camera_i2c)
{
	  sensor.bus.i2c = camera_i2c;
	  ov2640_init(&sensor);

	  sensor.write_reg(&sensor, BANK_SEL, 0x01);
	  if(sensor.read_reg(&sensor, REG_PID) != sensor.pid)
	  {
		  Error_Handler();
	  }
	  if(sensor.read_reg(&sensor, REG_VER) != sensor.rev)
	  {
		  Error_Handler();
	  }

	  sensor.pixformat = PIXFORMAT_RGB565;
	#if defined RGB565_128X128
	  sensor.framesize = FRAMESIZE_128X128;
	#elif defined RGB565_160X160
	  sensor.framesize = FRAMESIZE_160X160;
	#elif defined RGB565_QVGA
	sensor.framesize = FRAMESIZE_QVGA;
	#elif defined RGB565_VGA
	sensor.framesize = FRAMESIZE_VGA;
	#endif

	  sensor.contrast_level = 1;   // 2
	  sensor.brightness_level = 2; // 2
	  sensor.saturation_level = 2; // 2

	  if(sensor.reset(&sensor) == -1)
	  {
		  Error_Handler();
	  }
	  if(sensor.set(&sensor) == -1)
	  {
		  Error_Handler();
	  }
}
// Правильная настройка генератора
void mySystemClock_Config(void)
{
  RCC_OscInitTypeDef RCC_OscInitStruct = {0};
  RCC_ClkInitTypeDef RCC_ClkInitStruct = {0};

  /** Supply configuration update enable
  */
  HAL_PWREx_ConfigSupply(PWR_LDO_SUPPLY);
  /** Configure the main internal regulator output voltage
  */
  __HAL_PWR_VOLTAGESCALING_CONFIG(PWR_REGULATOR_VOLTAGE_SCALE0);

  while(!__HAL_PWR_GET_FLAG(PWR_FLAG_VOSRDY)) {}
  /** Configure LSE Drive Capability
  */
  HAL_PWR_EnableBkUpAccess();
  __HAL_RCC_LSEDRIVE_CONFIG(RCC_LSEDRIVE_LOW);
  /** Macro to configure the PLL clock source
  */
  __HAL_RCC_PLL_PLLSOURCE_CONFIG(RCC_PLLSOURCE_HSE);
  /** Initializes the RCC Oscillators according to the specified parameters
  * in the RCC_OscInitTypeDef structure.
  */
  RCC_OscInitStruct.OscillatorType = RCC_OSCILLATORTYPE_HSE|RCC_OSCILLATORTYPE_LSE;
  RCC_OscInitStruct.HSEState = RCC_HSE_ON;
  RCC_OscInitStruct.LSEState = RCC_LSE_ON;
  RCC_OscInitStruct.PLL.PLLState = RCC_PLL_ON;
  RCC_OscInitStruct.PLL.PLLSource = RCC_PLLSOURCE_HSE;
  RCC_OscInitStruct.PLL.PLLM = 5;
  RCC_OscInitStruct.PLL.PLLN = 192;
  RCC_OscInitStruct.PLL.PLLP = 2;
  RCC_OscInitStruct.PLL.PLLQ = 20;
  RCC_OscInitStruct.PLL.PLLR = 2;
  RCC_OscInitStruct.PLL.PLLRGE = RCC_PLL1VCIRANGE_2;
  RCC_OscInitStruct.PLL.PLLVCOSEL = RCC_PLL1VCOWIDE;
  RCC_OscInitStruct.PLL.PLLFRACN = 0;
  if (HAL_RCC_OscConfig(&RCC_OscInitStruct) != HAL_OK)
  {
    Error_Handler();
  }
  /** Initializes the CPU, AHB and APB buses clocks
  */
  RCC_ClkInitStruct.ClockType = RCC_CLOCKTYPE_HCLK|RCC_CLOCKTYPE_SYSCLK
                              |RCC_CLOCKTYPE_PCLK1|RCC_CLOCKTYPE_PCLK2
                              |RCC_CLOCKTYPE_D3PCLK1|RCC_CLOCKTYPE_D1PCLK1;
  RCC_ClkInitStruct.SYSCLKSource = RCC_SYSCLKSOURCE_PLLCLK;
  RCC_ClkInitStruct.SYSCLKDivider = RCC_SYSCLK_DIV1;
  RCC_ClkInitStruct.AHBCLKDivider = RCC_HCLK_DIV2;
  RCC_ClkInitStruct.APB3CLKDivider = RCC_APB3_DIV2;
  RCC_ClkInitStruct.APB1CLKDivider = RCC_APB1_DIV2;
  RCC_ClkInitStruct.APB2CLKDivider = RCC_APB2_DIV2;
  RCC_ClkInitStruct.APB4CLKDivider = RCC_APB4_DIV2;

  if (HAL_RCC_ClockConfig(&RCC_ClkInitStruct, FLASH_LATENCY_4) != HAL_OK)
  {
    Error_Handler();
  }
}

/* USER CODE END 4 */

void Error_Handler(void)
{
  __disable_irq();
  while (1)
  {
  }
}
